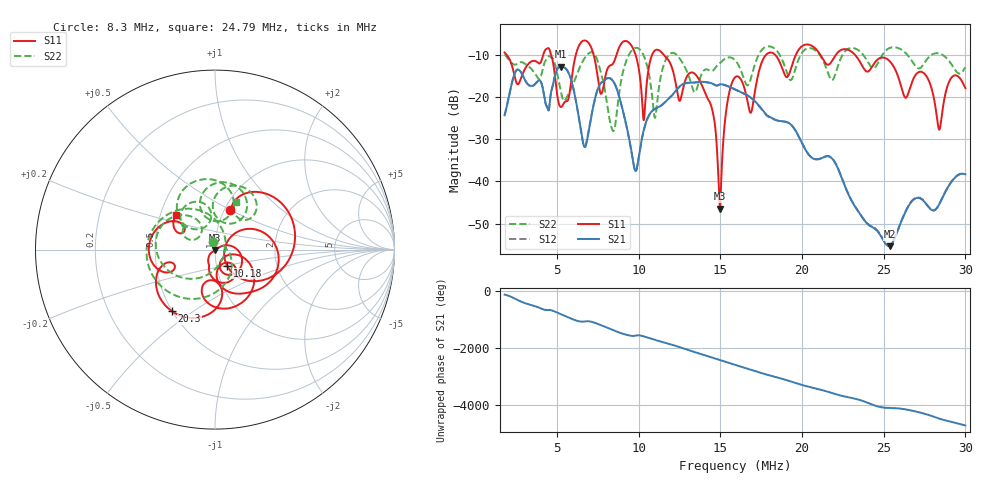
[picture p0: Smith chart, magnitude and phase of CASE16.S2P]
!Agilent Technologies,E5061B,MY49101568,A.02.00
!Date: Wed Mar 01 14:01:47 2023
!Data & Calibration Information:
!Freq	S11:SOLT2(OFF)	S21:SOLT2(OFF)	S12:SOLT2(OFF)	S22:SOLT2(OFF)
# Hz S dB R 50
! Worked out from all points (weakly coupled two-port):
!   1155 points, 1.8 MHz to 30 MHz, reference 50 ohm
!   highest |S21| = -12.79 dB at 5.246 MHz (marker M1); lowest = -55.4 dB at 25.36 MHz (marker M2)
!   lowest |S11| = -46.5 dB at 14.97 MHz (marker M3), VSWR 1.01, Z = 50.2 - j0.433 ohm
!   |S11| at or under -10 dB: 1.923 MHz to 4.165 MHz (2.242 MHz wide, 73.7 % of centre); 11.54 MHz to 17.8 MHz (6.259 MHz wide, 42.7 % of centre); 23.24 MHz to end of sweep (the widest 3 of 8)
!   |S22| runs from -28.1 to -8.0 dB; largest |S21 - S12| = 0.0029
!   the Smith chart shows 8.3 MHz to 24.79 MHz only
!   S11 on the Smith chart (normalised r, x): 8.3 MHz: 1.07, +0.50; 10.18 MHz: 1.12, -0.20; 20.3 MHz: 0.50, -0.41; 24.79 MHz: 0.60, +0.25
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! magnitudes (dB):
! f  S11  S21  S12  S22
! 1.8 MHz  -9.5  -24.4  -24.3  -9.9
! 2.606 MHz  -17.0  -13.5  -13.4  -12.0
! 4.488 MHz  -8.4  -23.2  -23.3  -10.3
! 5.246 MHz  -22.4  -12.8  -12.8  -18.9
! 6.516 MHz  -6.9  -29.1  -29.1  -12.0
! 7.396 MHz  -12.7  -19.4  -19.4  -10.5
! 8.3 MHz  -12.5  -15.7  -15.7  -26.7
! 9.766 MHz  -9.5  -37.2  -37.3  -8.4
! 10.18 MHz  -19.1  -30.2  -30.4  -9.2
! 11.21 MHz  -8.9  -22.4  -22.5  -18.8
! 14.34 MHz  -21.1  -16.6  -16.7  -13.7
! 14.97 MHz  -46.5  -17.0  -17.1  -12.0
! 15.9 MHz  -15.4  -18.2  -18.2  -11.3
! 16.85 MHz  -23.8  -20.1  -20.1  -15.9
! 17.78 MHz  -10.1  -24.0  -24.2  -8.1
! 20.3 MHz  -7.6  -33.0  -33.1  -8.5
! 20.62 MHz  -7.9  -34.4  -34.4  -8.5
! 24.79 MHz  -10.7  -52.8  -52.5  -10.8
! 25.31 MHz  -11.3  -55.3  -55.1  -8.5
! 25.36 MHz  -11.5  -55.4  -55.1  -8.4
! 28.39 MHz  -27.7  -45.5  -45.5  -9.7
! 30 MHz  -17.9  -38.3  -38.3  -13.0
